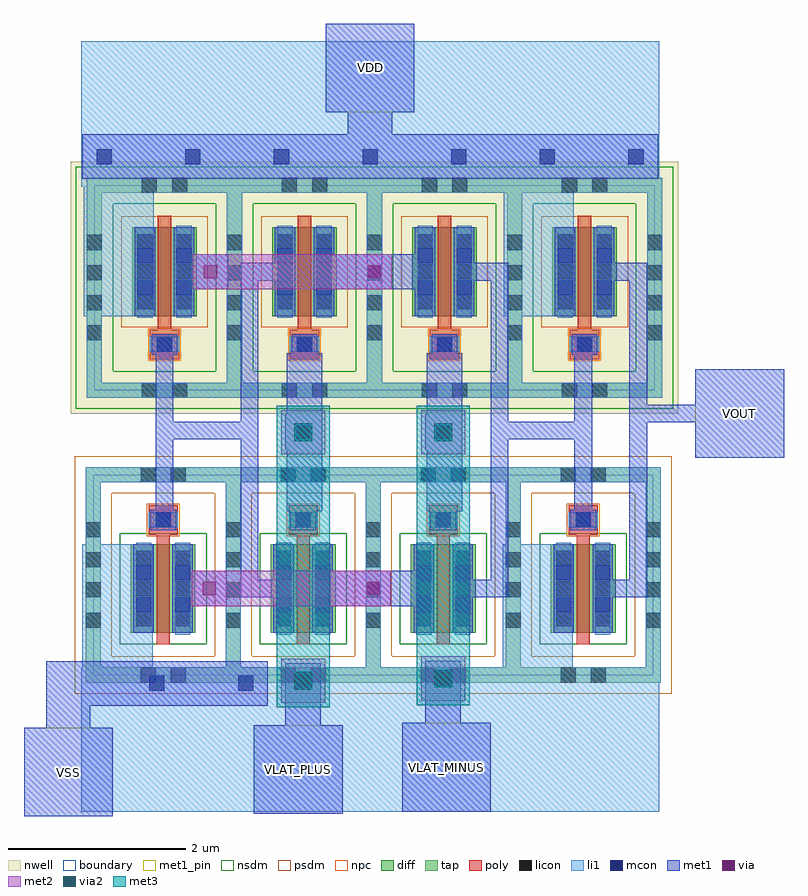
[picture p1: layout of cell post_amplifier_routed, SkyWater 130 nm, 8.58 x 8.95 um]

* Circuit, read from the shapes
.subckt post_amplifier_routed VDD VLAT_MINUS VLAT_PLUS VOUT VSS
XM1 n1 n2 VSS VSS sky130_fd_pr__nfet_01v8 w=1 l=0.15
XM2 n1 VLAT_PLUS n2 VSS sky130_fd_pr__nfet_01v8 w=1 l=0.15
XM3 n3 VLAT_MINUS n1 VSS sky130_fd_pr__nfet_01v8 w=1 l=0.15
XM4 VOUT n3 VSS VSS sky130_fd_pr__nfet_01v8 w=1 l=0.15
XM5 n4 n2 VDD VDD sky130_fd_pr__pfet_01v8 w=1 l=0.15
XM6 n4 VLAT_PLUS n2 VDD sky130_fd_pr__pfet_01v8 w=1 l=0.15
XM7 n3 VLAT_MINUS n4 VDD sky130_fd_pr__pfet_01v8 w=1 l=0.15
XM8 VOUT n3 VDD VDD sky130_fd_pr__pfet_01v8 w=1 l=0.15
.ends

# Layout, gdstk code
import gdstk
lib = gdstk.Library(unit=1e-6, precision=1e-09)
def R(c, l, rs):  # rectangles x0, y0, x1, y1
    for r in rs: c.add(gdstk.rectangle(r[:2], r[2:], *l))
def A(c, l, x, y, w, h, nx, ny, dx, dy):  # array of equal rectangles
    R(c, l, [(x+i*dx, y+j*dy, x+i*dx+w, y+j*dy+h) for i in range(nx) for j in range(ny)])
nwell = (64, 20)
diff = (65, 20)
tap = (65, 44)
poly = (66, 20)
licon = (66, 44)
li1 = (67, 20)
mcon = (67, 44)
met1_pin = (68, 16)
met1 = (68, 20)
via = (68, 44)
met2 = (69, 20)
via2 = (69, 44)
met3 = (70, 20)
nsdm = (93, 44)
psdm = (94, 20)
npc = (95, 20)
boundary = (235, 4)

sky130_fd_pr__pfet_01v8_ = lib.new_cell('sky130_fd_pr__pfet_01v8_5ETXLA')
R(sky130_fd_pr__pfet_01v8_, nwell, [(-1.055,-1.42,1.055,1.42)])
R(sky130_fd_pr__pfet_01v8_, diff, [(-0.365,-0.32,0.365,0.68)])
R(sky130_fd_pr__pfet_01v8_, tap, [(-0.875,-1.24,0.875,-1.07), (-0.875,-1.07,-0.705,1.07), (0.705,-1.07,0.875,1.07), (-0.875,1.07,0.875,1.24)])
R(sky130_fd_pr__pfet_01v8_, poly, [(-0.165,-0.805,0.165,-0.475), (-0.075,-0.475,0.075,0.81)])
A(sky130_fd_pr__pfet_01v8_, licon, -0.875, -0.595, 0.17, 0.17, 1, 4, 0, 0.34)
A(sky130_fd_pr__pfet_01v8_, licon, 0.705, -0.595, 0.17, 0.17, 1, 4, 0, 0.34)
A(sky130_fd_pr__pfet_01v8_, licon, -0.305, -0.245, 0.17, 0.17, 1, 3, 0, 0.34)
A(sky130_fd_pr__pfet_01v8_, licon, 0.135, -0.245, 0.17, 0.17, 1, 3, 0, 0.34)
R(sky130_fd_pr__pfet_01v8_, licon, [(-0.255,-1.24,-0.085,-1.07), (0.085,-1.24,0.255,-1.07), (-0.085,-0.725,0.085,-0.555), (-0.255,1.07,-0.085,1.24), (0.085,1.07,0.255,1.24)])
R(sky130_fd_pr__pfet_01v8_, li1, [(-0.875,-1.24,0.875,-1.07), (-0.875,-1.07,-0.705,1.07), (0.705,-1.07,0.875,1.07), (-0.165,-0.725,0.165,-0.555), (-0.305,-0.34,-0.135,0.7), (0.135,-0.34,0.305,0.7), (-0.875,1.07,0.875,1.24)])
R(sky130_fd_pr__pfet_01v8_, mcon, [(-0.085,-0.725,0.085,-0.555), (-0.305,-0.085,-0.135,0.085), (0.135,-0.085,0.305,0.085), (-0.305,0.275,-0.135,0.445), (0.135,0.275,0.305,0.445)])
R(sky130_fd_pr__pfet_01v8_, met1, [(-0.145,-0.755,0.145,-0.525), (-0.335,-0.32,-0.105,0.68), (0.105,-0.32,0.335,0.68)])
R(sky130_fd_pr__pfet_01v8_, nsdm, [(-1,-1.365,1,-0.945), (-1,-0.945,-0.58,0.945), (0.58,-0.945,1,0.945), (-1,0.945,1,1.365)])
R(sky130_fd_pr__pfet_01v8_, psdm, [(-0.49,-0.445,0.49,0.805)])
R(sky130_fd_pr__pfet_01v8_, npc, [(-0.185,-0.825,0.185,-0.455)])
R(sky130_fd_pr__pfet_01v8_, boundary, [(-0.79,-1.155,0.79,1.155)])

sky130_fd_pr__nfet_01v8_ = lib.new_cell('sky130_fd_pr__nfet_01v8_D6NL62')
R(sky130_fd_pr__nfet_01v8_, diff, [(-0.365,-0.655,0.365,0.345)])
R(sky130_fd_pr__nfet_01v8_, tap, [(-0.875,-1.215,0.875,-1.045), (-0.875,-1.045,-0.705,1.045), (0.705,-1.045,0.875,1.045), (-0.875,1.045,0.875,1.215)])
R(sky130_fd_pr__nfet_01v8_, poly, [(-0.075,-0.785,0.075,0.455), (-0.165,0.455,0.165,0.785)])
A(sky130_fd_pr__nfet_01v8_, licon, -0.875, -0.595, 0.17, 0.17, 1, 4, 0, 0.34)
A(sky130_fd_pr__nfet_01v8_, licon, 0.705, -0.595, 0.17, 0.17, 1, 4, 0, 0.34)
A(sky130_fd_pr__nfet_01v8_, licon, -0.305, -0.58, 0.17, 0.17, 1, 3, 0, 0.34)
A(sky130_fd_pr__nfet_01v8_, licon, 0.135, -0.58, 0.17, 0.17, 1, 3, 0, 0.34)
R(sky130_fd_pr__nfet_01v8_, licon, [(-0.255,-1.215,-0.085,-1.045), (0.085,-1.215,0.255,-1.045), (-0.085,0.535,0.085,0.705), (-0.255,1.045,-0.085,1.215), (0.085,1.045,0.255,1.215)])
R(sky130_fd_pr__nfet_01v8_, li1, [(-0.875,-1.215,0.875,-1.045), (-0.875,-1.045,-0.705,1.045), (0.705,-1.045,0.875,1.045), (-0.305,-0.675,-0.135,0.365), (0.135,-0.675,0.305,0.365), (-0.165,0.535,0.165,0.705), (-0.875,1.045,0.875,1.215)])
R(sky130_fd_pr__nfet_01v8_, mcon, [(-0.305,-0.42,-0.135,-0.25), (0.135,-0.42,0.305,-0.25), (-0.305,-0.06,-0.135,0.11), (0.135,-0.06,0.305,0.11), (-0.085,0.535,0.085,0.705)])
R(sky130_fd_pr__nfet_01v8_, met1, [(-0.335,-0.655,-0.105,0.345), (0.105,-0.655,0.335,0.345), (-0.145,0.505,0.145,0.735)])
R(sky130_fd_pr__nfet_01v8_, nsdm, [(-0.49,-0.78,0.49,0.47)])
R(sky130_fd_pr__nfet_01v8_, psdm, [(-1,-1.34,1,-0.92), (-1,-0.92,-0.58,0.92), (0.58,-0.92,1,0.92), (-1,0.92,1,1.34)])
R(sky130_fd_pr__nfet_01v8_, npc, [(-0.185,0.435,0.185,0.805)])
R(sky130_fd_pr__nfet_01v8_, boundary, [(-0.79,-1.13,0.79,1.13)])

post_amplifier_routed = lib.new_cell('post_amplifier_routed')
R(post_amplifier_routed, li1, [(6.37,-6.78,12.89,-5.17), (6.385,-5.17,7.175,-3.765), (11.125,-5.17,11.915,-3.765), (6.4,-1.19,7.19,0.27), (11.14,-1.19,11.93,0.27), (6.37,0.27,12.89,1.91)])
A(post_amplifier_routed, mcon, 6.545, 0.525, 0.17, 0.17, 7, 1, 1, 0)
R(post_amplifier_routed, mcon, [(7.14,-5.42,7.31,-5.25), (8.14,-5.42,8.31,-5.25)])
R(post_amplifier_routed, met1_pin, [(5.725,-6.835,6.725,-5.835), (8.32,-6.805,9.32,-5.805), (9.99,-6.78,10.99,-5.78), (13.3,-2.79,14.3,-1.79), (9.13,1.11,10.13,2.11)])
R(post_amplifier_routed, met1, [(5.725,-6.835,6.725,-5.835), (8.32,-6.805,9.32,-5.805), (9.99,-6.78,10.99,-5.78), (5.975,-5.835,6.475,-5.585), (8.675,-5.805,9.075,-5.105), (10.255,-5.78,10.655,-5.08), (5.975,-5.585,8.475,-5.085), (7.515,-4.465,8.015,-4.065), (9.095,-4.465,10.235,-4.065), (8.17,-4.365,8.755,-4.165), (10.575,-4.365,11.19,-4.165), (12.155,-4.365,12.755,-4.165), (8.17,-4.165,8.37,-2.58), (10.99,-4.165,11.19,-2.58), (12.555,-4.165,12.755,-2.39), (7.21,-3.59,7.41,-2.58), (11.935,-3.59,12.135,-2.58), (8.69,-3.39,9.09,-2.7), (10.27,-3.39,10.67,-2.7), (13.3,-2.79,14.3,-2.39), (8.675,-2.7,9.09,-2.3), (10.255,-2.7,10.67,-2.3), (7.21,-2.58,8.37,-2.38), (10.99,-2.58,12.135,-2.38), (12.555,-2.39,14.3,-2.19), (7.21,-2.38,7.41,-1.41), (8.17,-2.38,8.37,-0.79), (10.99,-2.38,11.19,-0.79), (11.935,-2.38,12.135,-1.41), (8.69,-2.3,9.09,-1.61), (10.27,-2.3,10.67,-1.61), (12.555,-2.19,12.755,-0.79), (13.3,-2.19,14.3,-1.79), (7.53,-0.89,8.03,-0.49), (9.11,-0.89,10.25,-0.49), (8.17,-0.79,8.77,-0.59), (10.59,-0.79,11.19,-0.59), (12.17,-0.79,12.755,-0.59), (6.38,0.36,12.88,0.86), (9.38,0.86,9.88,1.11), (9.13,1.11,10.13,2.11)])
R(post_amplifier_routed, via, [(8.8,-5.38,8.95,-5.23), (10.38,-5.355,10.53,-5.205), (7.74,-4.34,7.89,-4.19), (9.59,-4.34,9.74,-4.19), (8.8,-2.575,8.95,-2.425), (10.38,-2.575,10.53,-2.425), (7.755,-0.765,7.905,-0.615), (9.605,-0.765,9.755,-0.615)])
R(post_amplifier_routed, met2, [(8.625,-5.555,9.125,-5.055), (10.205,-5.53,10.705,-5.03), (7.615,-4.465,9.865,-4.065), (8.625,-2.75,9.125,-2.25), (10.205,-2.75,10.705,-2.25), (7.63,-0.89,9.88,-0.49)])
R(post_amplifier_routed, via2, [(8.775,-5.405,8.975,-5.205), (10.355,-5.38,10.555,-5.18), (8.775,-2.6,8.975,-2.4), (10.355,-2.6,10.555,-2.4)])
R(post_amplifier_routed, met3, [(8.575,-5.605,9.175,-2.2), (10.155,-5.58,10.755,-2.2)])
post_amplifier_routed.add(gdstk.Reference(sky130_fd_pr__pfet_01v8_, (12.05,-0.87)))
post_amplifier_routed.add(gdstk.Reference(sky130_fd_pr__nfet_01v8_, (12.035,-4.11)))
post_amplifier_routed.add(gdstk.Reference(sky130_fd_pr__pfet_01v8_, (7.31,-0.87)))
post_amplifier_routed.add(gdstk.Reference(sky130_fd_pr__pfet_01v8_, (10.47,-0.87)))
post_amplifier_routed.add(gdstk.Reference(sky130_fd_pr__pfet_01v8_, (8.89,-0.87)))
post_amplifier_routed.add(gdstk.Reference(sky130_fd_pr__nfet_01v8_, (7.295,-4.11)))
post_amplifier_routed.add(gdstk.Reference(sky130_fd_pr__nfet_01v8_, (10.455,-4.11)))
post_amplifier_routed.add(gdstk.Reference(sky130_fd_pr__nfet_01v8_, (8.875,-4.11)))
post_amplifier_routed.add(gdstk.Label('VDD', (9.63,1.61), layer=68, texttype=5))
post_amplifier_routed.add(gdstk.Label('VLAT_PLUS', (8.82,-6.305), layer=68, texttype=5))
post_amplifier_routed.add(gdstk.Label('VLAT_MINUS', (10.49,-6.28), layer=68, texttype=5))
post_amplifier_routed.add(gdstk.Label('VOUT', (13.8,-2.29), layer=68, texttype=5))
post_amplifier_routed.add(gdstk.Label('VSS', (6.225,-6.335), layer=68, texttype=5))

lib.write_gds('post_amplifier_routed.gds')
